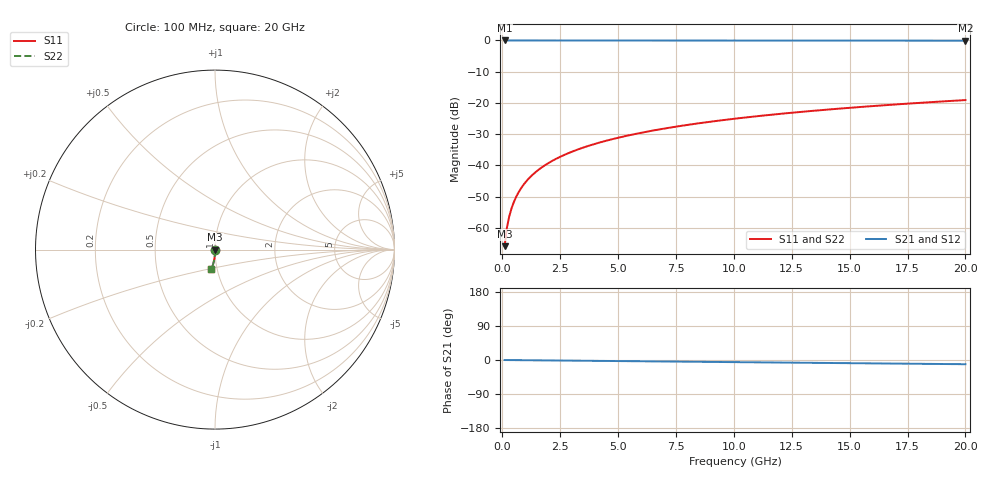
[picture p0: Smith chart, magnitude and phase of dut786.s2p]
! Touchstone file exported from HFSS 2026.1.0
!  File:  C:/ffzhzh/LocalFiles/Ansys_Project_Files/temp_train_TSV_786_1783183771_43440.aedt
!  Generated:  12:50:40 AM Jul  5, 2026
!  Design:  TSV
!  Project:  temp_train_TSV_786_1783183771_43440
! Variables:
!  h_bsmrdl = 2um
!  h_ox = 20um
!  h_rdl = 5um
!  h_sub = 98.9um
!  h_tmrdl = 5um
!  h_tsv = 98.9um
!  h_via = 3um
!  l_bsmrdl = 300um
!  l_sub = 428um
!  l_tmrdl = 200um
!  m_sub = 200um
!  pitch = 35.11um
!  r_tsv = 14um
!  s_tmrdl = 10um
!  w_bsmrdl = 18um
!  w_sub = 500um
!  w_tmrdl = 12um
!  x_tsv_center1 = 206um
!  x_tsv_center2 = 524um
!  x_tsv_center3 = 736um
!  x_tsv_center4 = 1054um
!  x_tsv_center5 = 1266um
!  x_tsv_center6 = 1584um
# GHz S MA R 50.000000
! Terminal data exported
! Port[1] = TSV1_1_T1
! Port[2] = TSV1_1_T2
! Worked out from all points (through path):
!   200 points, 100 MHz to 20 GHz, reference 50 ohm
!   highest |S21| = 0.00 dB at 100 MHz (marker M1); lowest = -0.1 dB at 20 GHz (marker M2)
!   group delay of S21, straight-line fit = 1.54 ps
!   lowest |S11| = -65.9 dB at 100 MHz (marker M3), VSWR 1.00, Z = 50 - j0.0496 ohm
!   |S11| at or under -10 dB: start of sweep to end of sweep
!   |S22| runs from -65.9 to -19.1 dB; largest |S21 - S12| = 2e-15
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0.1  0.0005064 -78.1  0.9999 -0.1  0.9999 -0.1  0.0005064 -78.1
! Gamma 0 0 0 0
! Port Impedance 50 0 50 0
0.2  0.001006 -82.8  0.9999 -0.1  0.9999 -0.1  0.001006 -82.8
0.3  0.00152 -84.1  0.9998 -0.2  0.9998 -0.2  0.00152 -84.1
0.4  0.002046 -84.7  0.9998 -0.2  0.9998 -0.2  0.002046 -84.7
0.5  0.002583 -85.1  0.9998 -0.3  0.9998 -0.3  0.002583 -85.1
0.7  0.003677 -85.7  0.9997 -0.4  0.9997 -0.4  0.003677 -85.7
0.8  0.00423 -86.0  0.9997 -0.5  0.9997 -0.5  0.00423 -86.0
1  0.005342 -86.6  0.9996 -0.6  0.9996 -0.6  0.005342 -86.6
1.2  0.006455 -87.1  0.9996 -0.7  0.9996 -0.7  0.006455 -87.1
1.4  0.007569 -87.5  0.9995 -0.8  0.9995 -0.8  0.007569 -87.5
1.7  0.009239 -88.1  0.9995 -1.0  0.9995 -1.0  0.009239 -88.1
2  0.01091 -88.5  0.9994 -1.1  0.9994 -1.1  0.01091 -88.5
2.7  0.0148 -89.4  0.9993 -1.5  0.9993 -1.5  0.0148 -89.4
3.5  0.01925 -90.1  0.9992 -2.0  0.9992 -2.0  0.01925 -90.1
4.2  0.02315 -90.7  0.999 -2.4  0.999 -2.4  0.02315 -90.7
5  0.02762 -91.2  0.9989 -2.8  0.9989 -2.8  0.02762 -91.2
6.8  0.03769 -92.5  0.9984 -3.8  0.9984 -3.8  0.03769 -92.5
8.3  0.04608 -93.4  0.9979 -4.7  0.9979 -4.7  0.04608 -93.4
10.1  0.05613 -94.5  0.9973 -5.7  0.9973 -5.7  0.05613 -94.5
13.4  0.07451 -96.5  0.996 -7.5  0.996 -7.5  0.07451 -96.5
16.7  0.09278 -98.4  0.9943 -9.3  0.9943 -9.3  0.09278 -98.4
20  0.1109 -100.3  0.9922 -11.1  0.9922 -11.1  0.1109 -100.3
